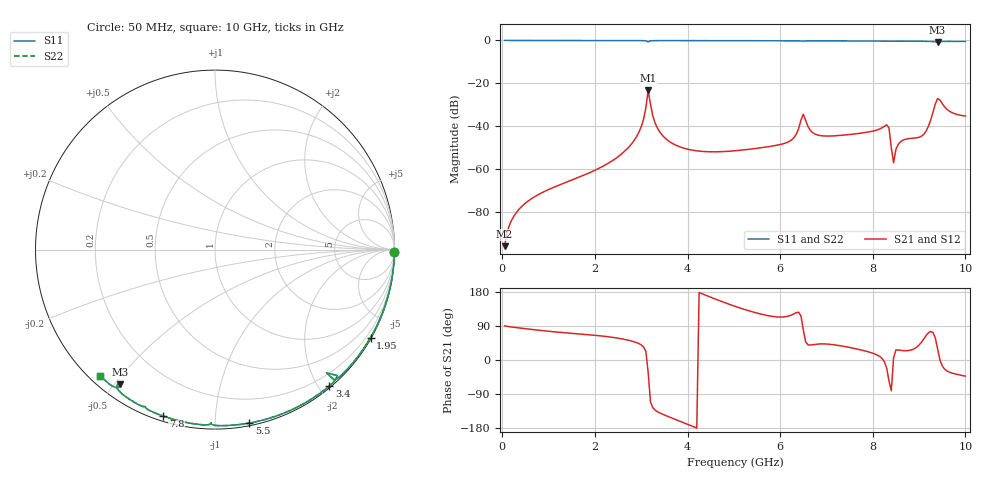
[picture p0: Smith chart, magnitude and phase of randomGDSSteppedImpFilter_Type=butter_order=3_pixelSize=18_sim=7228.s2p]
! freq	dB(S11)	phase(S11)	dB(S12)	phase(S12)
!  dB(S21)	phase(S21)	dB(S22)	phase(S22)
!S-par simulation data
#  GHz  S  DB  R 50
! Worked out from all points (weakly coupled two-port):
!   200 points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, 50 MHz to 10 GHz, reference 50 ohm
!   highest |S21| = -23.34 dB at 3.15 GHz (marker M1); lowest = -96.1 dB at 50 MHz (marker M2)
!   lowest |S11| = -0.7 dB at 9.4 GHz (marker M3), VSWR 23.34, Z = 2.72 - j25.8 ohm
!   |S11| at or under -10 dB: nowhere
!   |S22| runs from -0.7 to 0.0 dB; largest |S21 - S12| = 0
!   S11 on the Smith chart (normalised r, x): 50 MHz: open; 1.95 GHz: 0.03, -3.80; 3.4 GHz: 0.02, -2.14; 5.5 GHz: 0.02, -1.22; 7.8 GHz: 0.02, -0.74; 10 GHz: 0.03, -0.44
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0.05  -0.00 -0.8  -96.08 89.9  -96.08 89.9  -0.00 -0.8
1.75  -0.03 -26.5  -63.04 67.8  -63.04 67.8  -0.03 -26.5
1.95  -0.04 -29.5  -61.14 65.7  -61.14 65.7  -0.04 -29.5
2.85  -0.06 -42.9  -46.58 48.0  -46.58 48.0  -0.06 -42.8
3.05  -0.08 -46.3  -36.88 34.5  -36.88 34.5  -0.08 -46.2
3.15  -0.67 -47.9  -23.34 -33.1  -23.34 -33.1  -0.66 -47.8
3.25  -0.10 -47.3  -35.27 -125.9  -35.27 -125.9  -0.10 -47.3
3.4  -0.07 -50.0  -42.72 -139.7  -42.72 -139.7  -0.07 -49.9
3.95  -0.08 -57.9  -50.50 -167.2  -50.50 -167.2  -0.08 -57.9
5.05  -0.11 -72.9  -51.47 140.6  -51.47 140.6  -0.11 -72.8
5.5  -0.13 -78.8  -50.37 123.8  -50.37 123.8  -0.13 -78.7
6.25  -0.16 -88.5  -46.40 118.9  -46.40 118.9  -0.16 -88.4
6.5  -0.30 -91.3  -34.45 79.2  -34.45 79.2  -0.30 -91.3
6.7  -0.19 -93.7  -43.03 40.2  -43.03 40.2  -0.19 -93.6
7.8  -0.25 -107.3  -43.12 24.9  -43.12 24.9  -0.25 -107.2
8.35  -0.38 -114.0  -40.88 -55.3  -40.88 -55.3  -0.37 -113.8
8.45  -0.34 -114.8  -57.12 6.5  -57.12 6.5  -0.34 -114.6
8.5  -0.33 -115.4  -50.82 26.4  -50.82 26.4  -0.33 -115.3
8.6  -0.33 -116.6  -47.32 25.6  -47.32 25.6  -0.33 -116.5
9.15  -0.41 -123.5  -42.40 64.1  -42.40 64.1  -0.41 -123.3
9.4  -0.74 -125.2  -27.17 29.3  -27.17 29.3  -0.72 -125.1
10  -0.45 -132.3  -35.30 -42.7  -35.30 -42.7  -0.45 -132.2
